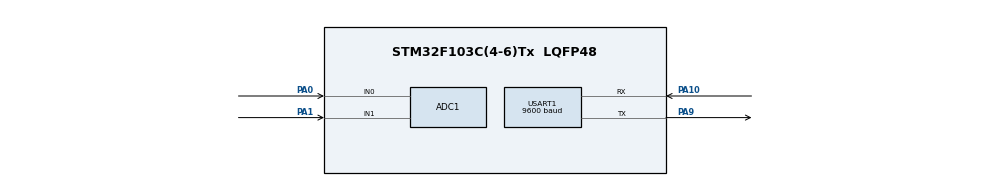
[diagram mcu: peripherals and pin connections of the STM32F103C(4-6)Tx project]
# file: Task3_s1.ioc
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ADC1.Channel-0\#ChannelRegularConversion=ADC_CHANNEL_0
ADC1.Channel-1\#ChannelRegularConversion=ADC_CHANNEL_1
ADC1.DiscontinuousConvMode=ENABLE
ADC1.NbrOfConversion=2
ADC1.NbrOfConversionFlag=1
ADC1.Rank-0\#ChannelRegularConversion=1
ADC1.Rank-1\#ChannelRegularConversion=2
ADC1.SamplingTime-0\#ChannelRegularConversion=ADC_SAMPLETIME_41CYCLES_5
ADC1.SamplingTime-1\#ChannelRegularConversion=ADC_SAMPLETIME_41CYCLES_5
ADC1.master=1
Mcu.Family=STM32F1
Mcu.Name=STM32F103C(4-6)Tx
Mcu.Package=LQFP48
NVIC.PriorityGroup=NVIC_PRIORITYGROUP_4
PA0-WKUP.Signal=ADCx_IN0
PA1.Signal=ADCx_IN1
PA10.Mode=Asynchronous
PA10.Signal=USART1_RX
PA9.Mode=Asynchronous
PA9.Signal=USART1_TX
ProjectManager.HeapSize=0x200
ProjectManager.StackSize=0x400
ProjectManager.TargetToolchain=STM32CubeIDE
RCC.APB1Freq_Value=8000000
RCC.APB2Freq_Value=8000000
SH.ADCx_IN0.0=ADC1_IN0,IN0
SH.ADCx_IN1.0=ADC1_IN1,IN1
USART1.BaudRate=9600
USART1.VirtualMode=VM_ASYNC
VP_SYS_VS_ND.Mode=No_Debug
board=custom

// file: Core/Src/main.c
/* USER CODE BEGIN Header */
/**
 ******************************************************************************
 * @file           : main.c
 * @brief          : Main program body
 ******************************************************************************
 * @attention
 *
 * Copyright (c) 2025 STMicroelectronics.
 * All rights reserved.
 *
 * This software is licensed under terms that can be found in the LICENSE file
 * in the root directory of this software component.
 * If no LICENSE file comes with this software, it is provided AS-IS.
 *
 ******************************************************************************
 */
/* USER CODE END Header */
#include "main.h"

/* USER CODE BEGIN Includes */
#include <stdlib.h>
/* USER CODE END Includes */

ADC_HandleTypeDef hadc1;

UART_HandleTypeDef huart1;

void SystemClock_Config(void);
static void MX_GPIO_Init(void);
static void MX_ADC1_Init(void);
static void MX_USART1_UART_Init(void);

/* USER CODE BEGIN 0 */
uint16_t temperature;
uint16_t throttle;

int __io_putchar(int ch) //makes printf work with uart
{
	HAL_UART_Transmit(&huart1, (uint8_t*) &ch, 1, HAL_MAX_DELAY);
	return ch;
}
/* USER CODE END 0 */

int main(void) {

	/* MCU Configuration--------------------------------------------------------*/

	/* Reset of all peripherals, Initializes the Flash interface and the Systick. */
	HAL_Init();

	/* Configure the system clock */
	SystemClock_Config();

	/* Initialize all configured peripherals */
	MX_GPIO_Init();
	MX_ADC1_Init();
	MX_USART1_UART_Init();

	/* Infinite loop */
	while (1) {

		/* USER CODE BEGIN 3 */
		HAL_ADC_Start(&hadc1);
		HAL_ADC_PollForConversion(&hadc1, 100);
		throttle = HAL_ADC_GetValue(&hadc1);

		HAL_ADC_Start(&hadc1);
		HAL_ADC_PollForConversion(&hadc1, 100);
		temperature = HAL_ADC_GetValue(&hadc1);

		HAL_ADC_Stop(&hadc1);

		throttle = (uint8_t) (throttle * (150.0 / 4095.0));
		temperature = (uint8_t) (temperature * (100.0 / 4095.0));

		printf("Temp= %d", temperature);
		printf(" Throttle= %d", throttle);
		printf("\r\n");

		HAL_Delay(1000);
	}
	/* USER CODE END 3 */
}

void SystemClock_Config(void) {
	RCC_OscInitTypeDef RCC_OscInitStruct = { 0 };
	RCC_ClkInitTypeDef RCC_ClkInitStruct = { 0 };
	RCC_PeriphCLKInitTypeDef PeriphClkInit = { 0 };

	/** Initializes the RCC Oscillators according to the specified parameters
	 * in the RCC_OscInitTypeDef structure.
	 */
	RCC_OscInitStruct.OscillatorType = RCC_OSCILLATORTYPE_HSI;
	RCC_OscInitStruct.HSIState = RCC_HSI_ON;
	RCC_OscInitStruct.HSICalibrationValue = RCC_HSICALIBRATION_DEFAULT;
	RCC_OscInitStruct.PLL.PLLState = RCC_PLL_NONE;
	if (HAL_RCC_OscConfig(&RCC_OscInitStruct) != HAL_OK) {
		Error_Handler();
	}

	/** Initializes the CPU, AHB and APB buses clocks
	 */
	RCC_ClkInitStruct.ClockType = RCC_CLOCKTYPE_HCLK | RCC_CLOCKTYPE_SYSCLK
			| RCC_CLOCKTYPE_PCLK1 | RCC_CLOCKTYPE_PCLK2;
	RCC_ClkInitStruct.SYSCLKSource = RCC_SYSCLKSOURCE_HSI;
	RCC_ClkInitStruct.AHBCLKDivider = RCC_SYSCLK_DIV1;
	RCC_ClkInitStruct.APB1CLKDivider = RCC_HCLK_DIV1;
	RCC_ClkInitStruct.APB2CLKDivider = RCC_HCLK_DIV1;

	if (HAL_RCC_ClockConfig(&RCC_ClkInitStruct, FLASH_LATENCY_0) != HAL_OK) {
		Error_Handler();
	}
	PeriphClkInit.PeriphClockSelection = RCC_PERIPHCLK_ADC;
	PeriphClkInit.AdcClockSelection = RCC_ADCPCLK2_DIV2;
	if (HAL_RCCEx_PeriphCLKConfig(&PeriphClkInit) != HAL_OK) {
		Error_Handler();
	}
}

static void MX_ADC1_Init(void) {

	ADC_ChannelConfTypeDef sConfig = { 0 };

	/** Common config
	 */
	hadc1.Instance = ADC1;
	hadc1.Init.ScanConvMode = ADC_SCAN_ENABLE;
	hadc1.Init.ContinuousConvMode = DISABLE;
	hadc1.Init.DiscontinuousConvMode = ENABLE;
	hadc1.Init.NbrOfDiscConversion = 1;
	hadc1.Init.ExternalTrigConv = ADC_SOFTWARE_START;
	hadc1.Init.DataAlign = ADC_DATAALIGN_RIGHT;
	hadc1.Init.NbrOfConversion = 2;
	if (HAL_ADC_Init(&hadc1) != HAL_OK) {
		Error_Handler();
	}

	/** Configure Regular Channel
	 */
	sConfig.Channel = ADC_CHANNEL_0;
	sConfig.Rank = ADC_REGULAR_RANK_1;
	sConfig.SamplingTime = ADC_SAMPLETIME_41CYCLES_5;
	if (HAL_ADC_ConfigChannel(&hadc1, &sConfig) != HAL_OK) {
		Error_Handler();
	}

	/** Configure Regular Channel
	 */
	sConfig.Channel = ADC_CHANNEL_1;
	sConfig.Rank = ADC_REGULAR_RANK_2;
	if (HAL_ADC_ConfigChannel(&hadc1, &sConfig) != HAL_OK) {
		Error_Handler();
	}

}

static void MX_USART1_UART_Init(void) {

	huart1.Instance = USART1;
	huart1.Init.BaudRate = 9600;
	huart1.Init.WordLength = UART_WORDLENGTH_8B;
	huart1.Init.StopBits = UART_STOPBITS_1;
	huart1.Init.Parity = UART_PARITY_NONE;
	huart1.Init.Mode = UART_MODE_TX_RX;
	huart1.Init.HwFlowCtl = UART_HWCONTROL_NONE;
	huart1.Init.OverSampling = UART_OVERSAMPLING_16;
	if (HAL_UART_Init(&huart1) != HAL_OK) {
		Error_Handler();
	}

}

static void MX_GPIO_Init(void) {

	/* GPIO Ports Clock Enable */
	__HAL_RCC_GPIOA_CLK_ENABLE();

}

void Error_Handler(void) {
	__disable_irq();
	while (1) {
	}
}
